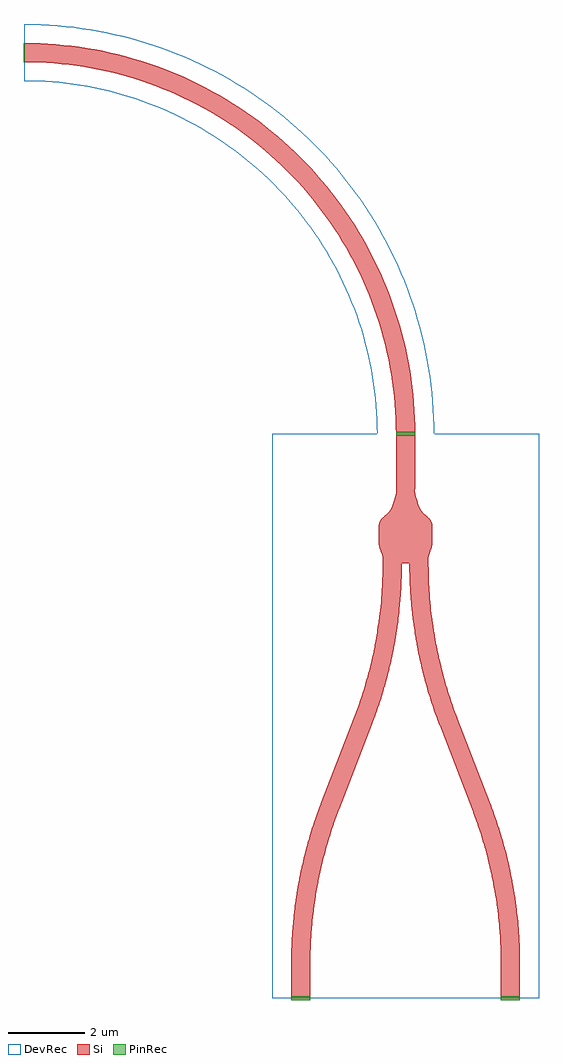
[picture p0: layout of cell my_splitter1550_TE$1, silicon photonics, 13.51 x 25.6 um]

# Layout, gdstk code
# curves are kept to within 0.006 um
from math import pi, radians
import gdstk
lib = gdstk.Library(unit=1e-6, precision=1e-09)
def R(c, l, rs):  # rectangles x0, y0, x1, y1
    for r in rs: c.add(gdstk.rectangle(r[:2], r[2:], *l))
def P(c, l, *ps):  # polygons
    for p in ps: c.add(gdstk.Polygon(p, *l))
Si = (1, 0)
PinRec = (1, 10)
DevRec = (68, 0)

waveguide_bend_2 = lib.new_cell('Waveguide_Bend$2')
P(waveguide_bend_2, Si, [(-10,-0.25),(-10,0.25),(-9.411,0.268),(-8.825,0.321),(-8.436,0.376),(-7.858,0.488),(-7.287,0.635),(-6.912,0.752),(-6.359,0.955),(-5.82,1.191),(-5.469,1.366),(-5.125,1.556),(-4.788,1.759),(-4.461,1.976),(-3.987,2.325),(-3.683,2.573),(-3.388,2.834),(-3.106,3.106),(-2.834,3.388),(-2.573,3.683),(-2.325,3.987),(-1.976,4.461),(-1.759,4.788),(-1.556,5.125),(-1.366,5.469),(-1.191,5.82),(-0.955,6.359),(-0.752,6.912),(-0.635,7.287),(-0.488,7.858),(-0.376,8.436),(-0.321,8.825),(-0.268,9.411),(-0.25,10),(0.25,10),(0.232,9.381),(0.198,8.97),(0.149,8.56),(0.043,7.95),(-0.099,7.347),(-0.214,6.951),(-0.344,6.559),(-0.57,5.982),(-0.739,5.606),(-1.022,5.054),(-1.228,4.698),(-1.448,4.348),(-1.683,4.008),(-2.06,3.518),(-2.466,3.05),(-2.752,2.752),(-3.05,2.466),(-3.518,2.06),(-4.008,1.683),(-4.348,1.448),(-4.698,1.228),(-5.054,1.022),(-5.606,0.739),(-5.982,0.57),(-6.559,0.344),(-6.951,0.214),(-7.347,0.099),(-7.95,-0.043),(-8.356,-0.118),(-8.97,-0.198),(-9.381,-0.232)])
P(waveguide_bend_2, DevRec, [(-10,-0.75),(-10,0.75),(-9.627,0.757),(-9.071,0.797),(-8.517,0.869),(-8.149,0.937),(-7.788,1.019),(-7.426,1.115),(-6.895,1.287),(-6.545,1.419),(-6.035,1.642),(-5.701,1.809),(-5.214,2.084),(-4.899,2.283),(-4.595,2.494),(-4.151,2.835),(-3.727,3.201),(-3.459,3.459),(-3.201,3.727),(-2.835,4.151),(-2.494,4.595),(-2.283,4.899),(-2.084,5.214),(-1.809,5.701),(-1.642,6.035),(-1.419,6.545),(-1.287,6.895),(-1.115,7.426),(-1.019,7.788),(-0.937,8.149),(-0.869,8.517),(-0.797,9.071),(-0.757,9.627),(-0.75,10),(0.75,10),(0.731,9.351),(0.695,8.919),(0.644,8.491),(0.533,7.851),(0.384,7.218),(0.263,6.802),(0.127,6.391),(-0.11,5.785),(-0.288,5.391),(-0.585,4.812),(-0.914,4.255),(-1.153,3.892),(-1.406,3.542),(-1.673,3.201),(-1.953,2.872),(-2.399,2.399),(-2.872,1.953),(-3.201,1.673),(-3.542,1.406),(-3.892,1.153),(-4.255,0.914),(-4.812,0.585),(-5.391,0.288),(-5.785,0.11),(-6.391,-0.127),(-6.802,-0.263),(-7.218,-0.384),(-7.851,-0.533),(-8.491,-0.644),(-8.919,-0.695),(-9.351,-0.731)])
waveguide_bend_2.add(gdstk.FlexPath([(0,9.99),(0,10.01)], 0.5, ends="flush", simple_path=True, layer=1, datatype=10))  # PinRec
waveguide_bend_2.add(gdstk.FlexPath([(-9.99,0),(-10.01,0)], 0.5, ends="flush", simple_path=True, layer=1, datatype=10))  # PinRec
waveguide_bend_2.add(gdstk.Label('Lumerical_INTERCONNECT_library=Design kits/EBeam', (-9,0), layer=68, texttype=0))
waveguide_bend_2.add(gdstk.Label('Component=ebeam_bend_1550', (-9,2.5), layer=68, texttype=0))
waveguide_bend_2.add(gdstk.Label('Spice_param:radius=10.000u wg_width=0.500u', (-9,5), layer=68, texttype=0))
waveguide_bend_2.add(gdstk.Label('pin2', (0,10), layer=1, texttype=10))
waveguide_bend_2.add(gdstk.Label('pin1', (-10,0), layer=1, texttype=10))

ebeam_y_1550 = lib.new_cell('ebeam_y_1550')
R(ebeam_y_1550, Si, [(6.5,-3,7.4,-2.5), (-7.4,-0.25,-6,0.25), (6.5,2.5,7.4,3)])
P(ebeam_y_1550, Si, [(6.458,-3),(6.237,-2.997),(6.237,-2.497),(6.5,-2.5),(6.5,-3)],
  [(5.033,-2.908),(4.653,-2.854),(4.288,-2.79),(3.59,-2.634),(2.922,-2.442),(2.265,-2.21),(2.445,-1.744),(3.075,-1.966),(3.731,-2.154),(4.372,-2.297),(5.033,-2.404)],
  [(6.233,-2.997),(5.619,-2.967),(5.033,-2.908),(5.033,-2.404),(5.625,-2.466),(6.237,-2.497)],
  [(2.265,-2.21),(0.055,-1.356),(0.235,-0.89),(2.445,-1.744)],
  [(-0.762,-1.076),(-1.123,-0.974),(-1.532,-0.874),(-1.909,-0.796),(-2.334,-0.724),(-2.792,-0.665),(-3.178,-0.63),(-3.601,-0.607),(-4,-0.6),(-4,-0.1),(-3.565,-0.108),(-3.16,-0.13),(-2.794,-0.162),(-2.381,-0.212),(-1.968,-0.277),(-1.565,-0.355),(-1.214,-0.435),(-0.762,-0.555)],
  [(0.055,-1.356),(-0.369,-1.202),(-0.762,-1.076),(-0.762,-0.555),(-0.263,-0.71),(0.235,-0.89)],
  [(6.237,2.497),(6.237,2.997),(6.5,3),(6.5,2.5)],
  [(2.445,1.744),(2.267,2.211),(2.922,2.442),(3.59,2.634),(4.288,2.79),(4.653,2.854),(5.033,2.908),(5.033,2.404),(4.372,2.297),(3.731,2.154),(3.075,1.966)],
  [(5.033,2.404),(5.033,2.908),(5.619,2.967),(6.237,2.997),(6.237,2.497),(5.625,2.466)],
  [(0.235,0.89),(0.055,1.356),(2.265,2.21),(2.445,1.744)],
  [(-4,0.1),(-4,0.6),(-3.601,0.607),(-3.178,0.63),(-2.792,0.665),(-2.334,0.724),(-1.909,0.796),(-1.532,0.874),(-1.123,0.974),(-0.762,1.076),(-0.762,0.555),(-1.214,0.435),(-1.565,0.355),(-1.968,0.277),(-2.381,0.212),(-2.794,0.162),(-3.16,0.13),(-3.565,0.108)],
  [(-0.762,0.555),(-0.762,1.076),(-0.369,1.202),(0.055,1.356),(0.235,0.89),(-0.263,0.71)],
  [(-5.122,-0.662),(-5.179,-0.619),(-5.344,-0.44),(-5.442,-0.374),(-5.808,-0.255),(-5.883,-0.245),(-6,-0.25),(-6,0.25),(-5.883,0.245),(-5.817,0.253),(-5.442,0.374),(-5.344,0.44),(-5.204,0.594),(-5.122,0.662)],
  [(-4.957,-0.703),(-5.047,-0.692),(-5.122,-0.662),(-5.122,0.662),(-5.062,0.688),(-4.978,0.702),(-4.538,0.703),(-4.424,0.685),(-4.167,0.6),(-4,0.6),(-4,-0.6),(-4.167,-0.6),(-4.403,-0.679),(-4.509,-0.701)])
R(ebeam_y_1550, DevRec, [(-7.4,-3.5,7.4,3.5)])
ebeam_y_1550.add(gdstk.FlexPath([(-7.35,0),(-7.45,0)], 0.5, ends="flush", simple_path=True, layer=1, datatype=10))  # PinRec
ebeam_y_1550.add(gdstk.FlexPath([(7.35,2.75),(7.45,2.75)], 0.5, ends="flush", simple_path=True, layer=1, datatype=10))  # PinRec
ebeam_y_1550.add(gdstk.FlexPath([(7.35,-2.75),(7.45,-2.75)], 0.5, ends="flush", simple_path=True, layer=1, datatype=10))  # PinRec
ebeam_y_1550.add(gdstk.Label('Component=ebeam_y_1550', (-6,1.5), layer=68, texttype=0))
ebeam_y_1550.add(gdstk.Label('Lumerical_INTERCONNECT_library=Design kits/ebeam', (-6.86,-2.19), layer=68, texttype=0))
ebeam_y_1550.add(gdstk.Label('opt2', (7.4,2.75), layer=1, texttype=10))
ebeam_y_1550.add(gdstk.Label('opt3', (7.4,-2.75), layer=1, texttype=10))
ebeam_y_1550.add(gdstk.Label('opt1', (-7.4,0), layer=1, texttype=10))
ebeam_y_1550.add(gdstk.Label('Ref: Y Zhang, Opt. Express, 21/1, 2013', (-7.5,-1), layer=10, texttype=0))

my_splitter1550_te_1 = lib.new_cell('my_splitter1550_TE$1')
my_splitter1550_te_1.add(gdstk.Reference(waveguide_bend_2, (37.56,-0.085), rotation=pi/2))
my_splitter1550_te_1.add(gdstk.Reference(ebeam_y_1550, (37.56,-17.485), rotation=3*pi/2))

lib.write_gds('my_splitter1550_TE_1.gds')
